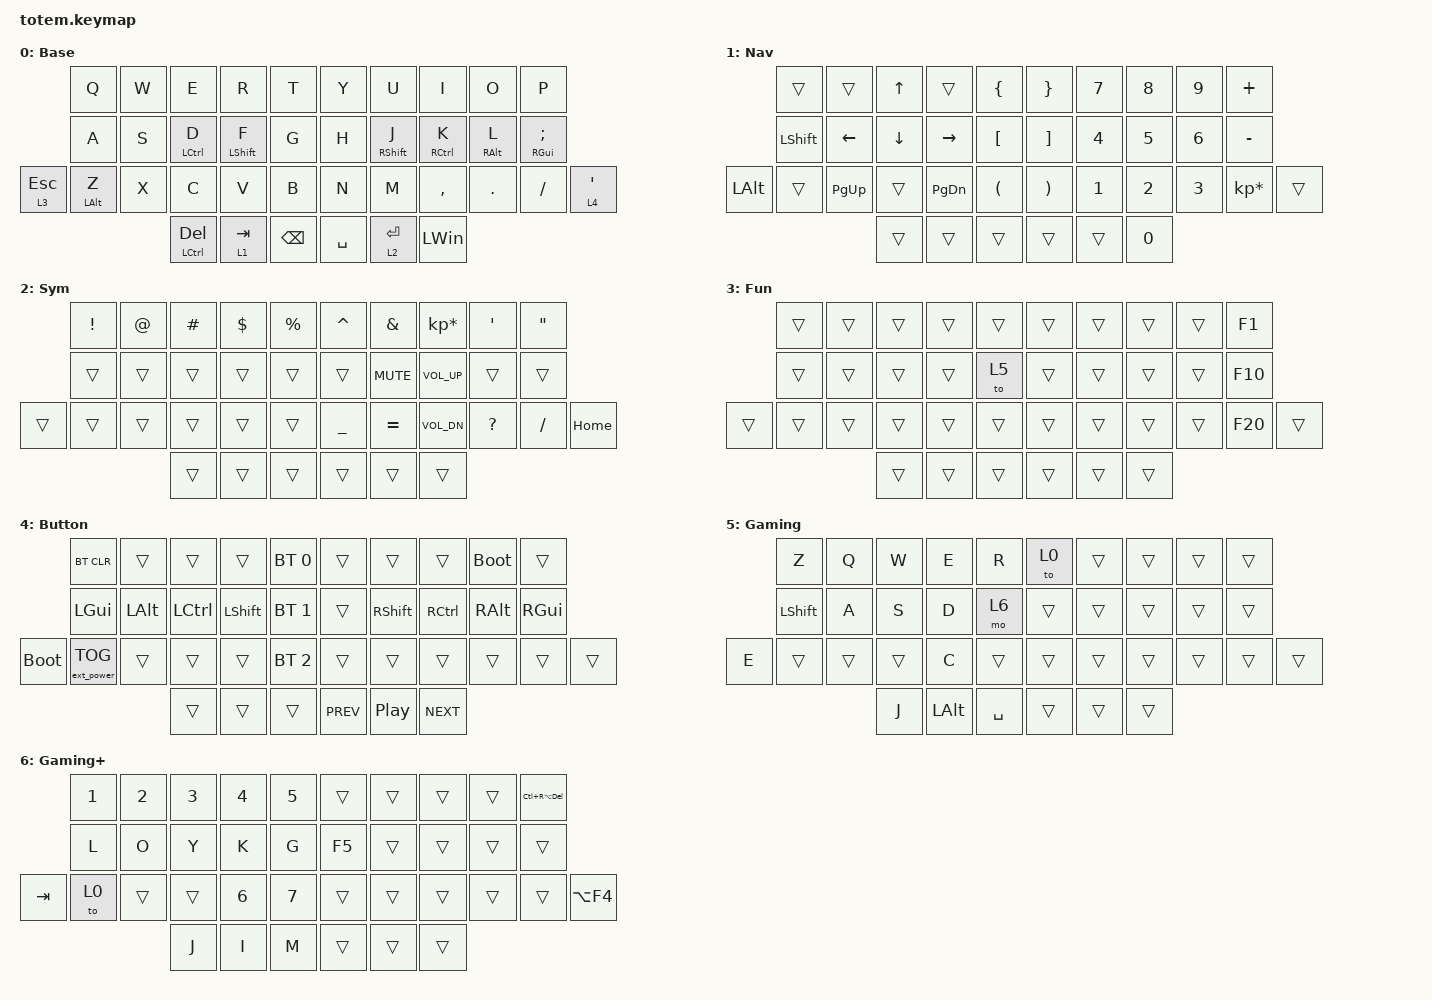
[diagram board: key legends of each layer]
//
//                                                        ▀▀▀▀▀     ▀▀▀▀▀          ▀▀█▀▀
//                                                        ▄▀▀▀▄  ▄  ▄▀▀▀▄  ▄  ▄▀▀▀▄  █  ▄▀▀▀▄
//                                                        █   █  █  █   █  █  █   █  █  █   █
//                                                         ▀▀▀   █   ▀▀▀   █   ▀▀▀   ▀   ▀▀▀
//                                                               █      ▄▄▄█▄▄▄    █   █  
//                                                               ▀      █  █  █     █▄█
//                                                             ▀▀▀▀▀    █  █  █      ▀
//                                                                      ▀  ▀  ▀
//
// ▄▄▄▄▄▄▄▄▄▄▄▄▄▄▄▄▄▄▄▄▄▄▄▄▄▄▄▄▄▄▄▄▄▄▄▄▄▄▄▄▄▄▄▄▄▄▄▄▄▄▄▄▄▄▄▄▄▄▄▄▄▄▄▄▄▄▄▄▄▄▄▄▄▄▄▄▄▄▄▄▄▄▄▄▄▄▄▄▄▄▄▄▄▄▄▄▄▄▄▄▄▄▄▄▄▄▄▄▄▄▄▄▄▄▄▄▄▄▄▄▄▄▄▄▄▄▄▄▄▄▄▄▄▄▄▄▄▄▄▄▄▄▄▄▄▄▄▄▄

#include <behaviors.dtsi>
#include <dt-bindings/zmk/bt.h>
#include <dt-bindings/zmk/ext_power.h>
#include <dt-bindings/zmk/keys.h>

#define Base        0
#define Media       1
#define Nav         2
#define Mouse       3
#define Sym         4
#define Num         5
#define Fun         6
#define Button      7
#define Game        8
#define Gameplus    9

&mt {
    quick-tap-ms = <100>;
    global-quick-tap;
    flavor = "tap-preferred";
    tapping-term-ms = <170>;
};

&lt {
    tapping-term-ms = <240>;
    flavor = "balanced";
    quick-tap-ms = <150>;
};

/ {
    behaviors {
        hm: homerow_mods {
            compatible = "zmk,behavior-hold-tap";
            label = "HOMEROW_MODS";
            #binding-cells = <2>;
            flavor = "tap-preferred";
            tapping-term-ms = <200>;
            quick-tap-ms = <125>;
            global-quick-tap;
            bindings = <&kp>, <&kp>;
        };
    };

    combos { compatible = "zmk,combos"; };

    keymap {
        compatible = "zmk,keymap";

        Base {
            label = "Base";
            bindings = <
              &kp Q           &kp W  &kp E          &kp R         &kp T            &kp Y      &kp U        &kp I         &kp O       &kp P
              &kp A           &kp S  &hm LCTRL D    &hm LSHIFT F  &kp G            &kp H      &hm RSHFT J  &hm RCTRL K   &hm RALT L  &hm RGUI SEMICOLON
&lt 3 ESCAPE  &hm LEFT_ALT Z  &kp X  &kp C          &kp V         &kp B            &kp N      &kp M        &kp COMMA     &kp DOT     &kp SLASH           &lt 4 APOSTROPHE
                                     &mt LCTRL DEL  &lt 1 TAB     &kp BACKSPACE    &kp SPACE  &lt 2 ENTER  &kp LEFT_WIN
            >;
        };

        Nav {
            label = "Nav";
            bindings = <
              &trans          &trans       &kp UP_ARROW  &trans     &kp LBRC    &kp RBRC  &kp NUMBER_7  &kp NUMBER_8  &kp NUMBER_9  &kp PLUS
              &kp LEFT_SHIFT  &kp LEFT     &kp DOWN      &kp RIGHT  &kp LBKT    &kp RBKT  &kp NUMBER_4  &kp NUMBER_5  &kp NUMBER_6  &kp MINUS
&kp LEFT_ALT  &trans          &kp PAGE_UP  &trans        &kp PG_DN  &kp LPAR    &kp RPAR  &kp NUMBER_1  &kp NUMBER_2  &kp NUMBER_3  &kp KP_MULTIPLY  &trans
                                           &trans        &trans     &trans      &trans    &trans        &kp NUMBER_0
            >;
        };

        Sym {
            label = "Sym";
            bindings = <
        &kp EXCL  &kp AT  &kp HASH  &kp DOLLAR  &kp PERCENT    &kp CARET  &kp AMPERSAND  &kp KP_ASTERISK  &kp SQT       &kp DQT
        &trans    &trans  &trans    &trans      &trans         &trans     &kp K_MUTE     &kp C_VOL_UP     &trans        &trans
&trans  &trans    &trans  &trans    &trans      &trans         &kp UNDER  &kp EQUAL      &kp C_VOL_DN     &kp QUESTION  &kp SLASH  &kp HOME
                          &trans    &trans      &trans         &trans     &trans         &trans
            >;
        };

        Fun {
            label = "Fun";
            bindings = <
        &trans  &trans  &trans  &trans  &trans    &trans  &trans  &trans  &trans  &kp F1
        &trans  &trans  &trans  &trans  &to 5     &trans  &trans  &trans  &trans  &kp F10
&trans  &trans  &trans  &trans  &trans  &trans    &trans  &trans  &trans  &trans  &kp F20  &trans
                        &trans  &trans  &trans    &trans  &trans  &trans
            >;
        };

        Button {
            label = "Button";
            bindings = <
             &bt BT_CLR         &trans    &trans     &trans      &bt BT_SEL 0    &trans      &trans            &trans      &bootloader  &trans
             &kp LGUI           &kp LALT  &kp LCTRL  &kp LSHIFT  &bt BT_SEL 1    &trans      &kp RSHIFT        &kp RCTRL   &kp RALT     &kp RGUI
&bootloader  &ext_power EP_TOG  &trans    &trans     &trans      &bt BT_SEL 2    &trans      &trans            &trans      &trans       &trans    &trans
                                          &trans     &trans      &trans          &kp C_PREV  &kp C_PLAY_PAUSE  &kp C_NEXT
            >;
        };

        Gaming {
            bindings = <
       &kp Z           &kp Q   &kp W   &kp E         &kp R        &to 0   &trans  &trans  &trans  &trans
       &kp LEFT_SHIFT  &kp A   &kp S   &kp D         &mo 6        &trans  &trans  &trans  &trans  &trans
&kp E  &trans          &trans  &trans  &kp C         &trans       &trans  &trans  &trans  &trans  &trans  &trans
                               &kp J   &kp LEFT_ALT  &kp SPACE    &trans  &trans  &trans
            >;

            label = "Gaming";
        };

        Gaming+ {
            bindings = <
         &kp NUMBER_1  &kp NUMBER_2  &kp NUMBER_3  &kp NUMBER_4  &kp NUMBER_5    &trans  &trans  &trans  &trans  &kp LC(RA(DEL))
         &kp L         &kp O         &kp Y         &kp K         &kp G           &kp F5  &trans  &trans  &trans  &trans
&kp TAB  &to 0         &trans        &trans        &kp NUMBER_6  &kp NUMBER_7    &trans  &trans  &trans  &trans  &trans           &kp LA(F4)
                                     &kp J         &kp I         &kp M           &trans  &trans  &trans
            >;

            label = "Gaming+";
        };
    };
};
